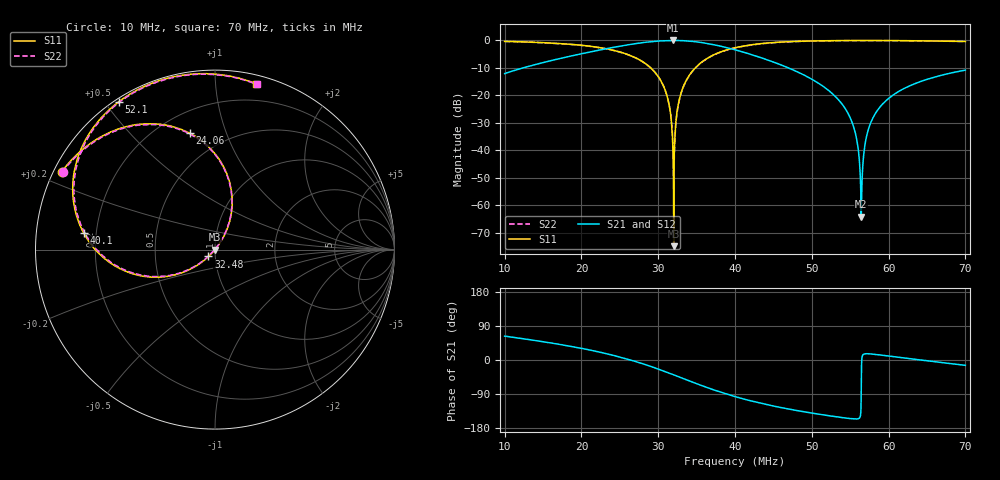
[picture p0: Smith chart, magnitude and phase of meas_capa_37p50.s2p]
#  HZ  S  RI  R  50.00
! Rohde & Schwarz ZVT8 8Ports - Version 4.11 - 1300.0000k08 SN: 100242
! Date: 2026-07-13 13:55:18
! Measurements: S11 S21 S12 S22
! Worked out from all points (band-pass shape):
!   3001 points, 10 MHz to 70 MHz, reference 50 ohm
!   highest |S21| = -0.06 dB at 31.92 MHz (marker M1); lowest = -64.1 dB at 56.44 MHz (marker M2)
!   |S21| within 3 dB of the highest: 23.24 MHz to 39.47 MHz (16.23 MHz wide, 51.8 % of centre)
!   lowest |S11| = -74.9 dB at 32.02 MHz (marker M3), VSWR 1.00, Z = 50 - j0.00902 ohm
!   |S11| at or under -10 dB: 29.01 MHz to 34.84 MHz (5.83 MHz wide, 18.3 % of centre)
!   |S22| runs from -52.9 to -0.1 dB; largest |S21 - S12| = 0.0018
!   S11 on the Smith chart (normalised r, x): 10 MHz: 0.02, +0.24; 24.06 MHz: 0.33, +0.75; 32.48 MHz: 0.93, -0.07; 40.1 MHz: 0.15, +0.06; 52.1 MHz: 0.01, +0.54; 70 MHz: 0.07, +1.28
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1e7  -0.8522 0.4343  0.1125 0.221  0.1127 0.2208  -0.8496 0.4313
2e7  -0.4116 0.6993  0.4895 0.29  0.489 0.2894  -0.4109 0.6957
2.406e7  -0.1408 0.6484  0.7208 0.1622  0.7206 0.1621  -0.142 0.6449
3e7  0.0909 0.1993  0.8855 -0.3923  0.8853 -0.3921  0.0887 0.2004
3.13e7  0.0451 0.0663  0.8243 -0.5482  0.8238 -0.5474  0.0444 0.0675
3.192e7  0.00696 0.00786  0.7782 -0.6172  0.7778 -0.6163  0.00657 0.00977
3.202e7  -0.000156 -9.02e-05  0.7694 -0.6279  0.7692 -0.6268  -0.000978 0.00205
3.224e7  -0.0168 -0.0191  0.7504 -0.6502  0.7499 -0.6494  -0.0172 -0.0165
3.248e7  -0.0364 -0.0383  0.7274 -0.6738  0.7278 -0.6728  -0.0362 -0.0363
3.326e7  -0.1075 -0.0936  0.6461 -0.7405  0.6458 -0.7405  -0.107 -0.0891
3.466e7  -0.2578 -0.1481  0.4757 -0.8196  0.4757 -0.8187  -0.2553 -0.1448
4e7  -0.7273 0.085  -0.0767 -0.6677  -0.0773 -0.6677  -0.7218 0.0863
4.01e7  -0.7316 0.0928  -0.0827 -0.6612  -0.083 -0.6609  -0.7262 0.0947
5e7  -0.6208 0.7478  -0.1501 -0.1259  -0.1501 -0.1257  -0.6166 0.7452
5.21e7  -0.5345 0.8251  -0.1047 -0.0689  -0.1045 -0.0688  -0.5311 0.8225
5.518e7  -0.3996 0.9059  -0.0308 -0.0144  -0.0307 -0.0144  -0.3962 0.903
5.584e7  -0.37 0.9192  -0.0145 -0.00661  -0.0145 -0.00661  -0.3668 0.9167
5.644e7  -0.3425 0.9298  0.000201 -0.000587  0.0002 -0.000584  -0.3399 0.9272
5.702e7  -0.3167 0.9391  0.0144 0.00429  0.0144 0.00428  -0.3136 0.9364
5.754e7  -0.2929 0.9466  0.0271 0.00787  0.0271 0.00788  -0.2898 0.9437
6e7  -0.182 0.9717  0.0862 0.0159  0.0861 0.0159  -0.1788 0.9688
7e7  0.2304 0.9234  0.2785 -0.0699  0.2785 -0.0699  0.234 0.9208
